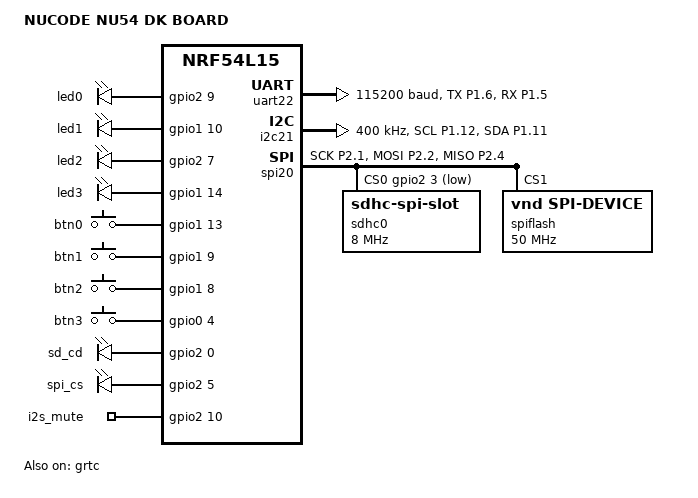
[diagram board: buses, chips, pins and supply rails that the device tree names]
/dts-v1/;
#include <nordic/nrf54l15_cpuapp.dtsi>
#include "nu54dk-pinctrl.dtsi"

/ {
	model = "NUCODE NU54 DK BOARD";
	compatible = "NUCODE,nu54dk-cpuapp";

	chosen {
		zephyr,code-partition = &slot0_partition;
		zephyr,sram = &cpuapp_sram;
		zephyr,flash = &cpuapp_rram;
		zephyr,flash-controller = &rram_controller;
    zephyr,console = &uart22;    
	};

  leds {
    compatible = "gpio-leds";
    led0: led_0 {
      gpios = <&gpio2 9 GPIO_ACTIVE_HIGH>;
    };
    led1: led_1 {
      gpios = <&gpio1 10 GPIO_ACTIVE_HIGH>;
    };    
    led2: led_2 {
      gpios = <&gpio2 7 GPIO_ACTIVE_HIGH>;
    };      
    led3: led_3 {
      gpios = <&gpio1 14 GPIO_ACTIVE_HIGH>;
    };      
  };  

  buttons {
		compatible = "gpio-keys";
		btn0: btn_0 { 
			gpios = <&gpio1 13 GPIO_PULL_UP>;
		};
		btn1: btn_1 {
			gpios = <&gpio1 9 GPIO_PULL_UP>;
		};  
		btn2: btn_2 {
			gpios = <&gpio1 8 GPIO_PULL_UP>;
		};
		btn3: btn_3 {
			gpios = <&gpio0 4 GPIO_PULL_UP>;
		};    
  };  

  gpio_pins {    		
		compatible = "gpio-leds";
    sd_cd: sd_cd {			
      gpios = <&gpio2 0 GPIO_ACTIVE_HIGH>;     
    };

		spi_cs: spi_cs {
			gpios = <&gpio2 5 GPIO_ACTIVE_HIGH>;
		};    

		i2s_mute: i2s_mute {
			gpios = <&gpio2 10 GPIO_ACTIVE_HIGH>;
		}; 		

  };  
};

&grtc {
	owned-channels = <0 1 2 3 4 5 6 7 8 9 10 11>;
	/* Channels 7-11 reserved for Zero Latency IRQs, 3-4 for FLPR */
	child-owned-channels = <3 4 7 8 9 10 11>;
	status = "okay";
};

&cpuapp_sram {
	status = "okay";
};

#include <nordic/nrf54l15_partition.dtsi>

&clock {
  status = "okay";
};

&gpio0 {
  status = "okay";
};

&gpio1 {
  status = "okay";
};

&gpio2 {
  status = "okay";
};

&gpiote20 {
  status = "okay";
};

&gpiote30 {
  status = "okay";
};

&uart22 {
  status = "okay";
  pinctrl-0 = <&uart22_default>;
  pinctrl-1 = <&uart22_sleep>;
  pinctrl-names = "default", "sleep";
  current-speed = <115200>;
  zephyr,pm-device-runtime-auto;
};

&i2c21 {
  status = "okay";
  pinctrl-0 = <&i2c21_default>;
  pinctrl-1 = <&i2c21_sleep>;
  pinctrl-names = "default", "sleep";
  clock-frequency = <I2C_BITRATE_FAST>;
};

&spi20 {
	status = "okay";
	pinctrl-0 = <&spi20_default>;
	pinctrl-1 = <&spi20_sleep>;
	pinctrl-names = "default", "sleep";

	zephyr,pm-device-runtime-auto;

  cs-gpios = <&gpio2 3 GPIO_ACTIVE_LOW>;      

  sdhc0: sdhc@0 {
		compatible = "zephyr,sdhc-spi-slot";
		reg = <0>; /* cs-gpios[0] 사용 */
		spi-max-frequency = <8000000>;   
		status = "okay";

		sdmmc {
			compatible = "zephyr,sdmmc-disk";
			disk-name = "SD";
			status = "okay";
		};    		
	};

	spiflash: spiflash@0 {
		compatible = "vnd,spi-device";
		reg = <1>;
		spi-max-frequency = <50000000>;
	};	
};

&pinctrl {
  uart22_default: uart22_default {
    group1 {
      psels = <NRF_PSEL(UART_TX, 1, 6)>, <NRF_PSEL(UART_RX, 1, 5)>;
    };
  };

  uart22_sleep: uart22_sleep {
    group1 {
      psels = <NRF_PSEL(UART_TX, 1, 6)>;
			bias-pull-up;
			low-power-enable;
    };

    group2 {
      psels = <NRF_PSEL(UART_RX, 1, 5)>;
			bias-pull-up;
      low-power-enable;
    };
  };

  i2c21_default: i2c21_default {
    group1 {
      psels = <NRF_PSEL(TWIM_SCL, 1, 12)>, <NRF_PSEL(TWIM_SDA, 1, 11)>;
    };
  };

  i2c21_sleep: i2c21_sleep {
    group1 {
      psels = <NRF_PSEL(TWIM_SCL, 1, 12)>, <NRF_PSEL(TWIM_SDA, 1, 11)>;
      low-power-enable;
    };
  };

	spi20_default: spi20_default {
		group1 {
			psels = <NRF_PSEL(SPIM_SCK,  2, 1)>,
							<NRF_PSEL(SPIM_MOSI, 2, 2)>,
							<NRF_PSEL(SPIM_MISO, 2, 4)>;
		};
	};

	spi20_sleep: spi20_sleep {
		group1 {
			psels = <NRF_PSEL(SPIM_SCK,  2, 1)>,
							<NRF_PSEL(SPIM_MOSI, 2, 2)>,
							<NRF_PSEL(SPIM_MISO, 2, 4)>;
			low-power-enable;
		};
	};
};

